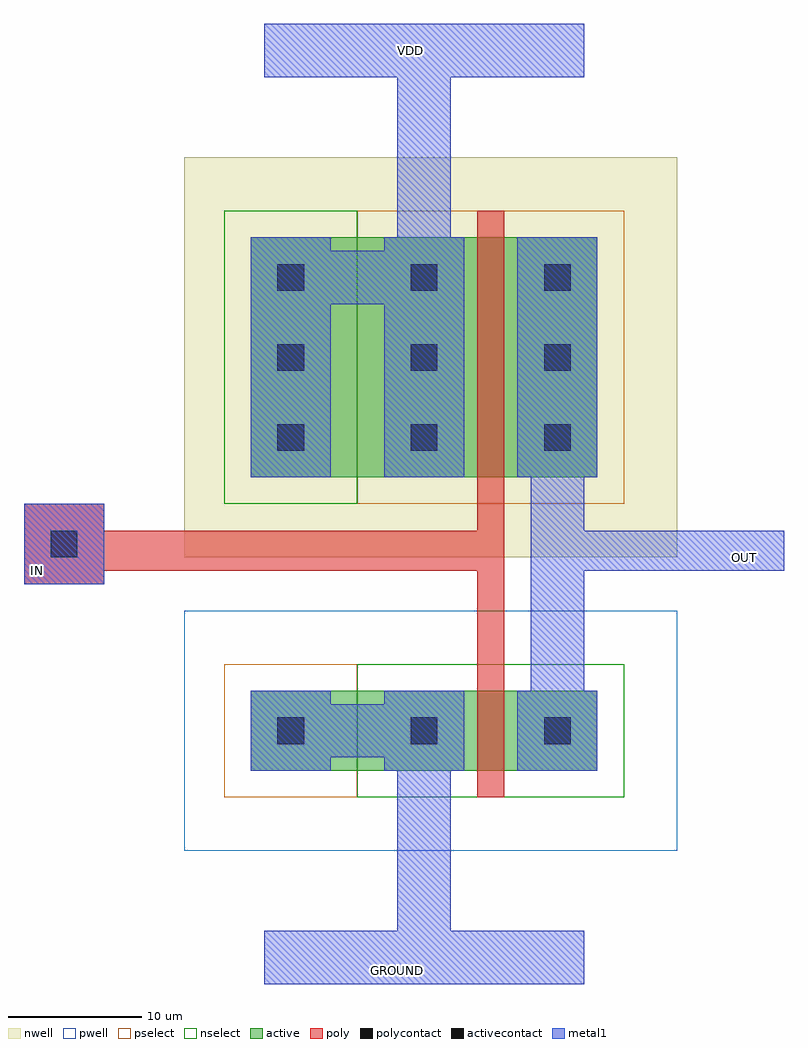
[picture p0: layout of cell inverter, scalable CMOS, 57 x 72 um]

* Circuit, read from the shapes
.subckt inverter GROUND IN OUT VDD
M1 OUT IN GROUND GROUND nfet w=6u l=2u
M2 OUT IN VDD VDD pfet w=18u l=2u
.ends

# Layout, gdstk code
import gdstk
lib = gdstk.Library(unit=1e-6, precision=1e-09)
def R(c, l, rs):  # rectangles x0, y0, x1, y1
    for r in rs: c.add(gdstk.rectangle(r[:2], r[2:], *l))
def A(c, l, x, y, w, h, nx, ny, dx, dy):  # array of equal rectangles
    R(c, l, [(x+i*dx, y+j*dy, x+i*dx+w, y+j*dy+h) for i in range(nx) for j in range(ny)])
def P(c, l, *ps):  # polygons
    for p in ps: c.add(gdstk.Polygon(p, *l))
pwell = (41, 0)
nwell = (42, 0)
active = (43, 0)
pselect = (44, 0)
nselect = (45, 0)
poly = (46, 0)
polycontact = (47, 0)
activecontact = (48, 0)
metal1 = (49, 0)

inverter = lib.new_cell('inverter')
R(inverter, pwell, [(-35,-26,2,-8)])
R(inverter, nwell, [(-35,-4,2,26)])
R(inverter, active, [(-30,-20,-4,-14), (-30,2,-4,20)])
R(inverter, pselect, [(-32,-22,-22,-12), (-22,0,-2,22)])
R(inverter, nselect, [(-22,-22,-2,-12), (-32,0,-22,22)])
P(inverter, poly, [(-47,-6),(-41,-6),(-41,-5),(-13,-5),(-13,-22),(-11,-22),(-11,22),(-13,22),(-13,-2),(-41,-2),(-41,0),(-47,0)])
R(inverter, polycontact, [(-45,-4,-43,-2)])
A(inverter, activecontact, -28, -18, 2, 2, 3, 2, 10, 22)
A(inverter, activecontact, -28, 10, 2, 2, 3, 2, 10, 6)
A(inverter, metal1, -30, -20, 6, 6, 3, 1, 10, 0)
A(inverter, metal1, -30, 2, 6, 18, 3, 1, 10, 0)
R(inverter, metal1, [(-47,-6,-41,0)])
P(inverter, metal1, [(-29,-36),(-5,-36),(-5,-32),(-15,-32),(-15,-15),(-29,-15),(-29,-19),(-19,-19),(-19,-32),(-29,-32)],
  [(-29,3),(-25,3),(-25,15),(-19,15),(-19,3),(-15,3),(-15,32),(-5,32),(-5,36),(-29,36),(-29,32),(-19,32),(-19,19),(-29,19)],
  [(-9,-19),(-5,-19),(-5,-5),(10,-5),(10,-2),(-5,-2),(-5,19),(-9,19)])
inverter.add(gdstk.Label('GROUND', (-19,-35), layer=2, texttype=0))
inverter.add(gdstk.Label('VDD', (-18,34), layer=2, texttype=0))
inverter.add(gdstk.Label('IN', (-46,-5), layer=2, texttype=0))
inverter.add(gdstk.Label('OUT', (7,-4), layer=2, texttype=0))

lib.write_gds('inverter.gds')
